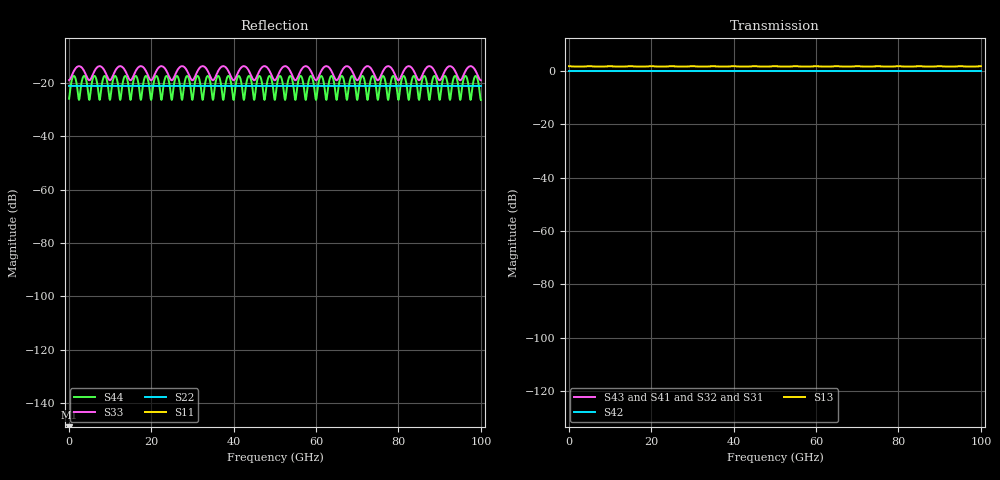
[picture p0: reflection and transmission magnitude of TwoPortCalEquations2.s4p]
! File created by SignalIntegrity v1.1.4: Signal and Power Integrity Tools
! https://github.com/TeledyneLeCroy/SignalIntegrity
# MHz MA S R 50.0
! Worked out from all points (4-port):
!   1000 points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, 100 MHz to 100 GHz, reference 50 ohm
!   strongest paths, dB at 100 MHz, 25.1 GHz, 50.1 GHz, 75.1 GHz, 100 GHz:
!     S13: 1.7, 1.7, 1.7, 1.7, 1.7
!     S42: 0.0, 0.0, 0.0, 0.0, 0.0
!     S43: -, -, -, -, -
!     S41: -, -, -, -, -
!     S32: -, -, -, -, -
!     S31: -, -, -, -, -
!   lowest |S11| = - dB at 100 MHz (marker M1), VSWR 1.00, Z = 50 + j0 ohm
!   |S11| at or under -10 dB: start of sweep to end of sweep
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100  0 0.0  0 0.0  1.217 -10.9  0 0.0
     0 0.0  0.08729 165.5  0 0.0  0.9559 -14.5
     0 0.0  0 0.0  0.1116 169.7  0 0.0
     0 0.0  1 0.0  0 0.0  0.05017 12.4
1700  0 0.0  0 0.0  1.196 176.2  0 0.0
      0 0.0  0.08681 -64.6  0 0.0  0.9454 115.6
      0 0.0  0 0.0  0.187 44.9  0 0.0
      0 0.0  1 0.0  0 0.0  0.1161 -19.6
10000  0 0.0  0 0.0  1.217 0.0  0 0.0
       0 0.0  0.0873 -180.0  0 0.0  0.9562 0.0
       0 0.0  0 0.0  0.1111 -180.0  0 0.0
       0 0.0  1 0.0  0 0.0  0.04762 -0.0
88300  0 0.0  0 0.0  1.196 -176.2  0 0.0
       0 0.0  0.08681 64.6  0 0.0  0.9454 -115.6
       0 0.0  0 0.0  0.187 -44.9  0 0.0
       0 0.0  1 0.0  0 0.0  0.1161 19.6
90000  0 0.0  0 0.0  1.217 0.0  0 0.0
       0 0.0  0.0873 -180.0  0 0.0  0.9562 0.0
       0 0.0  0 0.0  0.1111 -180.0  0 0.0
       0 0.0  1 0.0  0 0.0  0.04762 -0.0
95000  0 0.0  0 0.0  1.217 -180.0  0 0.0
       0 0.0  0.0873 -180.0  0 0.0  0.9562 0.0
       0 0.0  0 0.0  0.1111 -180.0  0 0.0
       0 0.0  1 0.0  0 0.0  0.04762 -0.0
100000  0 0.0  0 0.0  1.217 0.0  0 0.0
        0 0.0  0.0873 -180.0  0 0.0  0.9562 0.0
        0 0.0  0 0.0  0.1111 -180.0  0 0.0
        0 0.0  1 0.0  0 0.0  0.04762 -0.0
